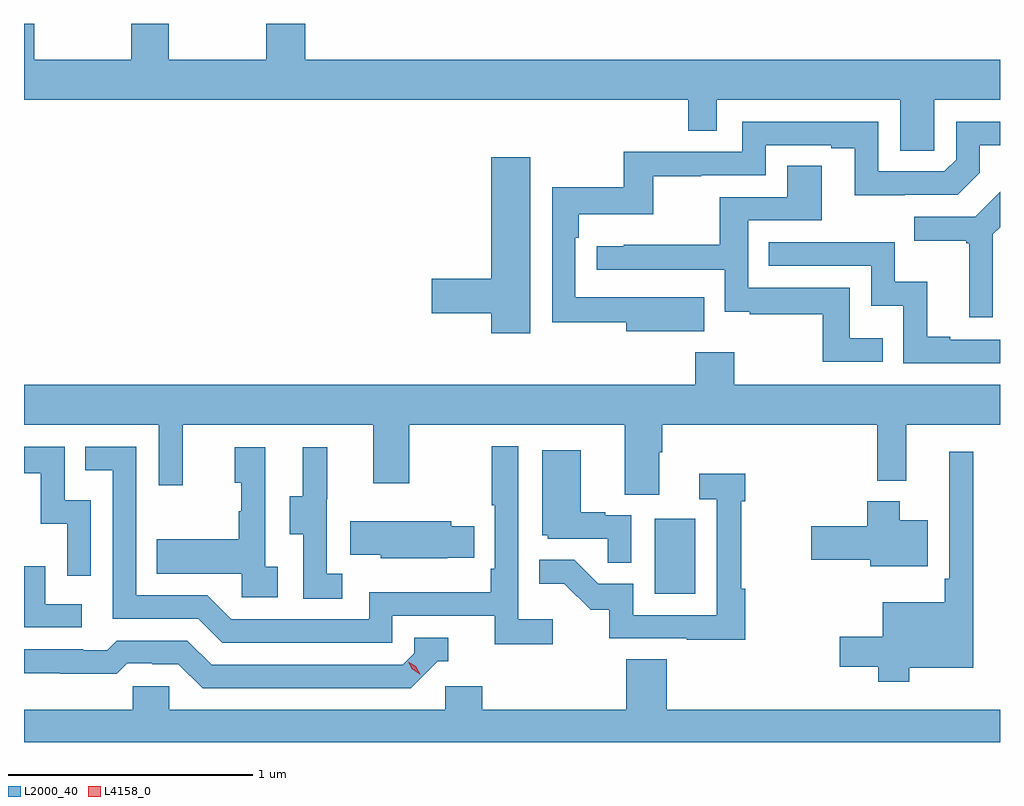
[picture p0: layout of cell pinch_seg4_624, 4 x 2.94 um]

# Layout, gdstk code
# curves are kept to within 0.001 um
import gdstk
lib = gdstk.Library(unit=1e-6, precision=1e-09)
def R(c, l, rs):  # rectangles x0, y0, x1, y1
    for r in rs: c.add(gdstk.rectangle(r[:2], r[2:], *l))
def P(c, l, *ps):  # polygons
    for p in ps: c.add(gdstk.Polygon(p, *l))
L2000_40 = (2000, 40)
L4158_0 = (4158, 0)

pinch_seg4_624 = lib.new_cell('pinch_seg4_624')
R(pinch_seg4_624, L2000_40, [(1046.48,749.508,1046.644,749.815)])
P(pinch_seg4_624, L2000_40, [(1047.624,751.532),(1047.894,751.532),(1047.894,751.696),(1045.046,751.696),(1045.046,751.844),(1044.886,751.844),(1044.886,751.696),(1044.488,751.696),(1044.488,751.844),(1044.334,751.844),(1044.334,751.696),(1043.936,751.696),(1043.936,751.844),(1043.894,751.844),(1043.894,751.532),(1046.617,751.532),(1046.617,751.405),(1046.733,751.405),(1046.733,751.532),(1047.485,751.532),(1047.485,751.324),(1047.624,751.324)],
  [(1046.681,750.724),(1046.154,750.723),(1046.154,750.968),(1046.168,750.968),(1046.168,751.064),(1046.473,751.064),(1046.473,751.219),(1046.669,751.219),(1046.669,751.224),(1046.934,751.224),(1046.934,751.347),(1047.203,751.347),(1047.203,751.335),(1047.299,751.335),(1047.299,751.142),(1047.72,751.143),(1047.81,751.233),(1047.81,751.347),(1047.894,751.347),(1047.894,751.443),(1047.714,751.443),(1047.714,751.287),(1047.666,751.239),(1047.396,751.239),(1047.396,751.443),(1046.838,751.443),(1046.838,751.32),(1046.352,751.32),(1046.352,751.174),(1046.058,751.174),(1046.058,750.622),(1046.363,750.622),(1046.363,750.584),(1046.681,750.584)],
  [(1045.969,751.297),(1045.808,751.297),(1045.808,750.8),(1045.566,750.8),(1045.566,750.658),(1045.808,750.658),(1045.808,750.576),(1045.969,750.576)],
  [(1047.413,750.556),(1047.279,750.556),(1047.279,750.762),(1046.862,750.762),(1046.862,751.038),(1047.163,751.038),(1047.163,751.262),(1047.023,751.262),(1047.023,751.134),(1046.746,751.134),(1046.746,750.938),(1046.353,750.938),(1046.353,750.933),(1046.241,750.933),(1046.241,750.837),(1046.766,750.837),(1046.766,750.665),(1046.869,750.665),(1046.869,750.654),(1047.168,750.654),(1047.168,750.459),(1047.413,750.459)],
  [(1047.864,750.981),(1047.894,751.011),(1047.894,751.155),(1047.792,751.053),(1047.543,751.053),(1047.543,750.956),(1047.756,750.956),(1047.756,750.945),(1047.767,750.945),(1047.767,750.642),(1047.864,750.642)],
  [(1047.894,750.549),(1047.691,750.549),(1047.691,750.562),(1047.595,750.562),(1047.595,750.787),(1047.462,750.787),(1047.462,750.948),(1046.947,750.948),(1046.947,750.852),(1047.366,750.852),(1047.366,750.689),(1047.498,750.689),(1047.498,750.453),(1047.894,750.453)],
  [(1046.497,750.088),(1046.51,750.088),(1046.51,750.2),(1047.391,750.2),(1047.391,749.972),(1047.509,749.972),(1047.509,750.2),(1047.894,750.2),(1047.894,750.364),(1046.805,750.364),(1046.805,750.499),(1046.645,750.499),(1046.645,750.364),(1043.894,750.364),(1043.894,750.2),(1044.447,750.2),(1044.447,749.952),(1044.545,749.952),(1044.545,750.2),(1045.325,750.2),(1045.325,749.961),(1045.473,749.961),(1045.473,750.2),(1046.357,750.2),(1046.357,749.914),(1046.497,749.914)],
  [(1046.062,749.404),(1045.92,749.404),(1045.92,750.112),(1045.812,750.112),(1045.812,749.872),(1045.824,749.872),(1045.824,749.611),(1045.807,749.611),(1045.807,749.515),(1045.308,749.515),(1045.308,749.403),(1044.744,749.403),(1044.645,749.502),(1044.354,749.502),(1044.354,750.111),(1044.145,750.111),(1044.145,750.015),(1044.258,750.015),(1044.258,749.406),(1044.608,749.406),(1044.707,749.307),(1045.404,749.307),(1045.404,749.418),(1045.823,749.418),(1045.823,749.302),(1046.062,749.302)],
  [(1044.168,749.892),(1044.06,749.892),(1044.06,750.111),(1043.894,750.111),(1043.894,750.003),(1043.963,750.003),(1043.963,749.795),(1044.072,749.795),(1044.072,749.583),(1044.168,749.583)],
  [(1045.198,749.591),(1045.134,749.591),(1045.134,749.895),(1045.136,749.895),(1045.136,750.109),(1045.037,750.109),(1045.037,749.907),(1044.983,749.907),(1044.983,749.752),(1045.038,749.752),(1045.038,749.488),(1045.198,749.488)],
  [(1044.934,749.618),(1044.882,749.618),(1044.882,750.109),(1044.758,750.109),(1044.758,749.964),(1044.784,749.964),(1044.784,749.846),(1044.774,749.846),(1044.774,749.731),(1044.439,749.731),(1044.439,749.591),(1044.786,749.591),(1044.786,749.493),(1044.934,749.493)],
  [(1046.382,749.829),(1046.276,749.829),(1046.276,749.842),(1046.176,749.842),(1046.176,750.097),(1046.018,750.097),(1046.018,749.748),(1046.04,749.748),(1046.04,749.733),(1046.287,749.733),(1046.287,749.635),(1046.382,749.635)],
  [(1047.523,749.204),(1047.784,749.204),(1047.784,750.091),(1047.687,750.091),(1047.687,749.569),(1047.667,749.569),(1047.667,749.473),(1047.413,749.473),(1047.413,749.332),(1047.237,749.332),(1047.237,749.21),(1047.394,749.21),(1047.394,749.147),(1047.523,749.147)],
  [(1046.849,749.528),(1046.834,749.528),(1046.834,749.888),(1046.849,749.888),(1046.849,750.001),(1046.661,750.001),(1046.661,749.895),(1046.733,749.895),(1046.733,749.421),(1046.391,749.421),(1046.391,749.55),(1046.247,749.55),(1046.149,749.648),(1046.005,749.648),(1046.005,749.549),(1046.109,749.549),(1046.216,749.442),(1046.293,749.442),(1046.293,749.325),(1046.611,749.325),(1046.611,749.32),(1046.849,749.32)],
  [(1047.598,749.809),(1047.484,749.809),(1047.484,749.887),(1047.35,749.887),(1047.35,749.784),(1047.12,749.784),(1047.12,749.647),(1047.362,749.647),(1047.362,749.621),(1047.598,749.621)],
  [(1045.628,749.655),(1045.739,749.655),(1045.739,749.784),(1045.645,749.784),(1045.645,749.806),(1045.231,749.806),(1045.231,749.669),(1045.356,749.669),(1045.356,749.654),(1045.628,749.654)],
  [(1044.13,749.466),(1043.982,749.466),(1043.982,749.62),(1043.894,749.62),(1043.894,749.37),(1044.13,749.37)],
  [(1045.59,749.232),(1045.633,749.232),(1045.633,749.328),(1045.494,749.328),(1045.494,749.265),(1045.446,749.217),(1044.663,749.217),(1044.564,749.316),(1044.275,749.316),(1044.236,749.277),(1044.137,749.277),(1044.137,749.28),(1043.894,749.28),(1043.894,749.183),(1044.042,749.183),(1044.042,749.181),(1044.275,749.181),(1044.317,749.223),(1044.42,749.223),(1044.42,749.22),(1044.527,749.22),(1044.626,749.121),(1045.479,749.121)],
  [(1047.894,749.032),(1046.528,749.032),(1046.528,749.24),(1046.363,749.24),(1046.363,749.032),(1045.772,749.032),(1045.772,749.13),(1045.62,749.13),(1045.62,749.032),(1044.489,749.032),(1044.489,749.13),(1044.339,749.13),(1044.339,749.032),(1043.894,749.032),(1043.894,748.9),(1047.894,748.9)])
P(pinch_seg4_624, L4158_0, [(1045.516,749.179),(1045.486,749.198),(1045.469,749.23),(1045.469,749.23),(1045.469,749.23),(1045.5,749.211),(1045.517,749.179),(1045.517,749.179)])

lib.write_gds('pinch_seg4_624.gds')
